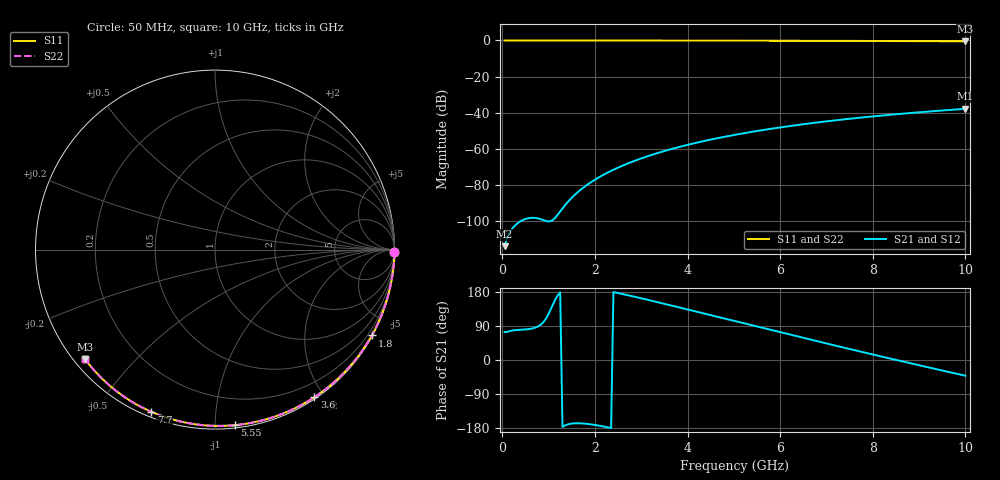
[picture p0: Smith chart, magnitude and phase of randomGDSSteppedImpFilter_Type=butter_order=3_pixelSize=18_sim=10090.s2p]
! freq	dB(S11)	phase(S11)	dB(S12)	phase(S12)
!  dB(S21)	phase(S21)	dB(S22)	phase(S22)
!S-par simulation data
#  GHz  S  DB  R 50
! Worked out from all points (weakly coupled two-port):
!   200 points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, 50 MHz to 10 GHz, reference 50 ohm
!   highest |S21| = -37.79 dB at 10 GHz (marker M1); lowest = -113.7 dB at 50 MHz (marker M2)
!   lowest |S11| = -0.5 dB at 10 GHz (marker M3), VSWR 36.54, Z = 1.55 - j18.3 ohm
!   |S11| at or under -10 dB: nowhere
!   |S22| runs from -0.5 to 0.0 dB; largest |S21 - S12| = 0
!   S11 on the Smith chart (normalised r, x): 50 MHz: open; 1.8 GHz: 0.03, -3.91; 3.6 GHz: 0.02, -1.88; 5.55 GHz: 0.02, -1.12; 7.7 GHz: 0.02, -0.68; 10 GHz: 0.03, -0.37
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0.05  -0.00 -0.8  -113.73 74.1  -113.73 74.1  -0.00 -0.8
0.45  -0.01 -7.3  -99.20 80.2  -99.20 80.2  -0.01 -7.3
0.9  -0.02 -14.5  -99.39 101.7  -99.39 101.7  -0.02 -14.5
1.75  -0.04 -27.9  -81.36 -167.6  -81.36 -167.6  -0.04 -27.9
1.8  -0.04 -28.7  -80.40 -168.2  -80.40 -168.2  -0.04 -28.7
1.85  -0.04 -29.5  -79.49 -168.8  -79.49 -168.8  -0.04 -29.5
2.05  -0.04 -32.6  -76.21 -172.5  -76.21 -172.5  -0.04 -32.6
2.2  -0.04 -34.9  -74.06 -175.8  -74.06 -175.8  -0.04 -34.9
2.55  -0.05 -40.3  -69.73 175.4  -69.73 175.4  -0.05 -40.3
2.95  -0.06 -46.4  -65.68 164.3  -65.68 164.3  -0.06 -46.4
3.4  -0.07 -53.1  -61.89 151.2  -61.89 151.2  -0.07 -53.1
3.6  -0.08 -56.0  -60.40 145.3  -60.40 145.3  -0.08 -56.0
3.9  -0.08 -60.4  -58.36 136.3  -58.36 136.3  -0.08 -60.4
4.3  -0.09 -66.2  -55.92 124.3  -55.92 124.3  -0.09 -66.2
5.05  -0.12 -76.7  -52.04 101.6  -52.04 101.6  -0.12 -76.7
5.55  -0.14 -83.5  -49.85 86.6  -49.85 86.6  -0.14 -83.5
6.1  -0.16 -90.9  -47.71 70.2  -47.71 70.2  -0.16 -90.9
6.7  -0.19 -98.7  -45.66 52.4  -45.66 52.4  -0.19 -98.7
7.7  -0.26 -111.4  -42.75 23.2  -42.75 23.2  -0.26 -111.5
8.35  -0.31 -119.5  -41.14 4.6  -41.14 4.6  -0.31 -119.5
9.2  -0.39 -130.0  -39.30 -19.4  -39.30 -19.4  -0.39 -130.0
10  -0.48 -139.7  -37.79 -41.5  -37.79 -41.5  -0.48 -139.7
